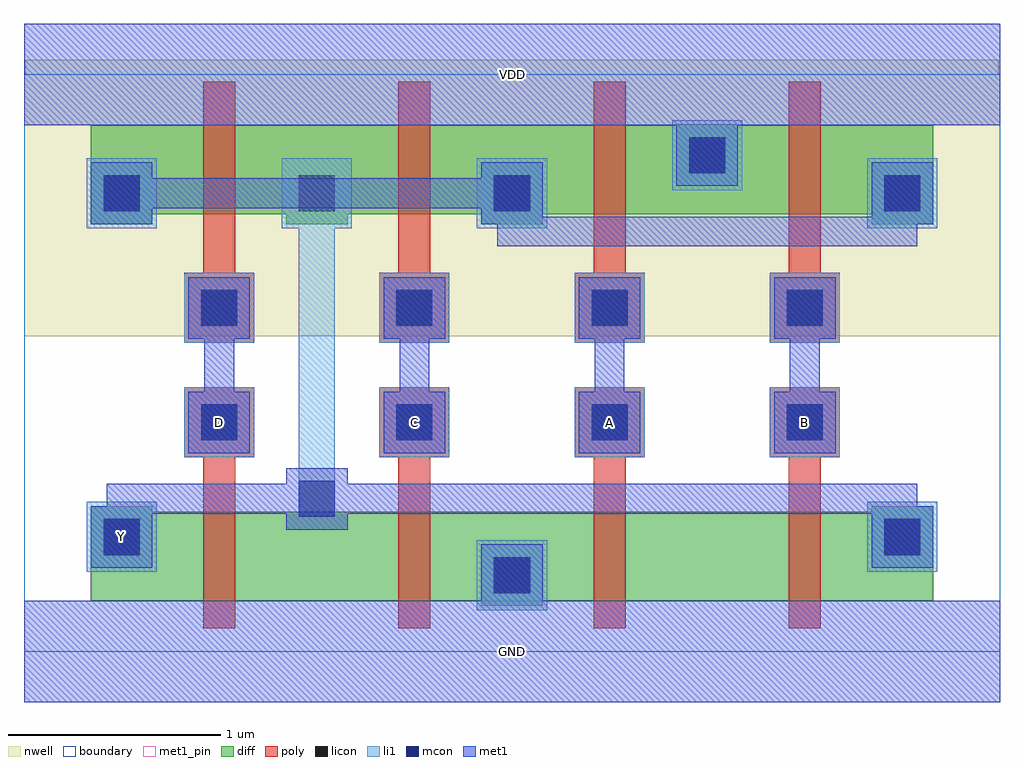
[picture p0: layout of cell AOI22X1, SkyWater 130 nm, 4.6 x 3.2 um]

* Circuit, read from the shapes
.subckt AOI22X1 A B C D GND VDD Y
XM1 n1 D Y VSUBS sky130_fd_pr__nfet_01v8 w=0.42 l=0.15
XM2 GND C n1 VSUBS sky130_fd_pr__nfet_01v8 w=0.42 l=0.15
XM3 n2 A GND VSUBS sky130_fd_pr__nfet_01v8 w=0.42 l=0.15
XM4 Y B n2 VSUBS sky130_fd_pr__nfet_01v8 w=0.42 l=0.15
XM5 Y D n3 n4 sky130_fd_pr__pfet_01v8 w=0.42 l=0.15
XM6 n3 C Y n4 sky130_fd_pr__pfet_01v8 w=0.42 l=0.15
XM7 VDD A n3 n4 sky130_fd_pr__pfet_01v8 w=0.42 l=0.15
XM8 n3 B VDD n4 sky130_fd_pr__pfet_01v8 w=0.42 l=0.15
.ends

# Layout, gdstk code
import gdstk
lib = gdstk.Library(unit=1e-6, precision=1e-09)
def R(c, l, rs):  # rectangles x0, y0, x1, y1
    for r in rs: c.add(gdstk.rectangle(r[:2], r[2:], *l))
def A(c, l, x, y, w, h, nx, ny, dx, dy):  # array of equal rectangles
    R(c, l, [(x+i*dx, y+j*dy, x+i*dx+w, y+j*dy+h) for i in range(nx) for j in range(ny)])
def P(c, l, *ps):  # polygons
    for p in ps: c.add(gdstk.Polygon(p, *l))
nwell = (64, 20)
diff = (65, 20)
poly = (66, 20)
licon = (66, 44)
li1 = (67, 20)
mcon = (67, 44)
met1_pin = (68, 16)
met1 = (68, 20)
boundary = (235, 4)

aoi22x1 = lib.new_cell('AOI22X1')
P(aoi22x1, nwell, [(0,1.485),(0,2.72),(0.005,2.72),(0.005,2.79),(4.595,2.79),(4.595,2.72),(4.6,2.72),(4.6,1.485)])
P(aoi22x1, diff, [(2.155,0.215),(2.155,0.24),(0.315,0.24),(0.315,0.685),(0.605,0.685),(0.605,0.66),(3.995,0.66),(3.995,0.685),(4.285,0.685),(4.285,0.24),(2.445,0.24),(2.445,0.215)],
  [(0.315,2.015),(0.315,2.48),(3.075,2.48),(3.075,2.485),(3.365,2.485),(3.365,2.48),(4.285,2.48),(4.285,2.015),(3.995,2.015),(3.995,2.06),(2.445,2.06),(2.445,2.015),(2.155,2.015),(2.155,2.06),(1.525,2.06),(1.525,2.015),(1.235,2.015),(1.235,2.06),(0.605,2.06),(0.605,2.015)])
P(aoi22x1, poly, [(0.845,0.11),(0.845,0.915),(0.755,0.915),(0.755,1.245),(1.085,1.245),(1.085,0.915),(0.995,0.915),(0.995,0.11)],
  [(1.765,0.11),(1.765,0.915),(1.675,0.915),(1.675,1.245),(2.005,1.245),(2.005,0.915),(1.915,0.915),(1.915,0.11)],
  [(2.685,0.11),(2.685,0.915),(2.595,0.915),(2.595,1.245),(2.925,1.245),(2.925,0.915),(2.835,0.915),(2.835,0.11)],
  [(3.605,0.11),(3.605,0.915),(3.515,0.915),(3.515,1.245),(3.845,1.245),(3.845,0.915),(3.755,0.915),(3.755,0.11)],
  [(0.755,1.455),(0.755,1.785),(0.845,1.785),(0.845,2.685),(0.995,2.685),(0.995,1.785),(1.085,1.785),(1.085,1.455)],
  [(1.675,1.455),(1.675,1.785),(1.765,1.785),(1.765,2.685),(1.915,2.685),(1.915,1.785),(2.005,1.785),(2.005,1.455)],
  [(2.595,1.455),(2.595,1.785),(2.685,1.785),(2.685,2.685),(2.835,2.685),(2.835,1.785),(2.925,1.785),(2.925,1.455)],
  [(3.515,1.455),(3.515,1.785),(3.605,1.785),(3.605,2.685),(3.755,2.685),(3.755,1.785),(3.845,1.785),(3.845,1.455)])
A(aoi22x1, licon, 0.835, 0.995, 0.17, 0.17, 4, 2, 0.92, 0.54)
A(aoi22x1, licon, 0.375, 2.075, 0.17, 0.17, 3, 1, 0.92, 0)
R(aoi22x1, licon, [(2.215,0.275,2.385,0.445), (0.375,0.455,0.545,0.625), (4.055,0.455,4.225,0.625), (4.055,2.075,4.225,2.245), (3.135,2.255,3.305,2.425)])
A(aoi22x1, li1, 0.755, 0.915, 0.33, 0.33, 4, 2, 0.92, 0.54)
A(aoi22x1, li1, 0.295, 1.995, 0.33, 0.33, 3, 1, 1.84, 0)
R(aoi22x1, li1, [(2.135,0.195,2.465,0.525), (0.295,0.375,0.625,0.705), (3.975,0.375,4.305,0.705), (3.055,2.175,3.385,2.505)])
P(aoi22x1, li1, [(1.295,0.635),(1.295,1.995),(1.215,1.995),(1.215,2.325),(1.545,2.325),(1.545,1.995),(1.465,1.995),(1.465,0.635)])
A(aoi22x1, mcon, 0.835, 0.995, 0.17, 0.17, 4, 2, 0.92, 0.54)
A(aoi22x1, mcon, 0.375, 2.075, 0.17, 0.17, 3, 1, 1.84, 0)
R(aoi22x1, mcon, [(2.215,0.275,2.385,0.445), (0.375,0.455,0.545,0.625), (4.055,0.455,4.225,0.625), (1.295,0.635,1.465,0.805), (3.135,2.255,3.305,2.425)])
R(aoi22x1, met1_pin, [(0,-0.24,4.6,0.24), (0,2.48,4.6,2.96)])
P(aoi22x1, met1_pin, [(0.315,0.395),(0.315,0.685),(0.39,0.685),(0.39,0.79),(1.235,0.79),(1.235,0.865),(1.525,0.865),(1.525,0.79),(4.21,0.79),(4.21,0.685),(4.285,0.685),(4.285,0.395),(3.995,0.395),(3.995,0.65),(1.525,0.65),(1.525,0.575),(1.235,0.575),(1.235,0.65),(0.605,0.65),(0.605,0.395)],
  [(3.535,0.935),(3.535,1.225),(3.61,1.225),(3.61,1.475),(3.535,1.475),(3.535,1.765),(3.825,1.765),(3.825,1.475),(3.75,1.475),(3.75,1.225),(3.825,1.225),(3.825,0.935)],
  [(2.615,0.935),(2.615,1.225),(2.69,1.225),(2.69,1.475),(2.615,1.475),(2.615,1.765),(2.905,1.765),(2.905,1.475),(2.83,1.475),(2.83,1.225),(2.905,1.225),(2.905,0.935)],
  [(0.775,0.935),(0.775,1.225),(0.85,1.225),(0.85,1.475),(0.775,1.475),(0.775,1.765),(1.065,1.765),(1.065,1.475),(0.99,1.475),(0.99,1.225),(1.065,1.225),(1.065,0.935)],
  [(1.695,0.935),(1.695,1.225),(1.77,1.225),(1.77,1.475),(1.695,1.475),(1.695,1.765),(1.985,1.765),(1.985,1.475),(1.91,1.475),(1.91,1.225),(1.985,1.225),(1.985,0.935)])
P(aoi22x1, met1, [(0,-0.24),(0,0.24),(2.155,0.24),(2.155,0.505),(2.445,0.505),(2.445,0.24),(4.6,0.24),(4.6,-0.24)],
  [(0.315,0.395),(0.315,0.685),(0.39,0.685),(0.39,0.79),(1.235,0.79),(1.235,0.865),(1.525,0.865),(1.525,0.79),(4.21,0.79),(4.21,0.685),(4.285,0.685),(4.285,0.395),(3.995,0.395),(3.995,0.65),(1.525,0.65),(1.525,0.575),(1.235,0.575),(1.235,0.65),(0.605,0.65),(0.605,0.395)],
  [(0.775,0.935),(0.775,1.225),(0.85,1.225),(0.85,1.475),(0.775,1.475),(0.775,1.765),(1.065,1.765),(1.065,1.475),(0.99,1.475),(0.99,1.225),(1.065,1.225),(1.065,0.935)],
  [(1.695,0.935),(1.695,1.225),(1.77,1.225),(1.77,1.475),(1.695,1.475),(1.695,1.765),(1.985,1.765),(1.985,1.475),(1.91,1.475),(1.91,1.225),(1.985,1.225),(1.985,0.935)],
  [(2.615,0.935),(2.615,1.225),(2.69,1.225),(2.69,1.475),(2.615,1.475),(2.615,1.765),(2.905,1.765),(2.905,1.475),(2.83,1.475),(2.83,1.225),(2.905,1.225),(2.905,0.935)],
  [(3.535,0.935),(3.535,1.225),(3.61,1.225),(3.61,1.475),(3.535,1.475),(3.535,1.765),(3.825,1.765),(3.825,1.475),(3.75,1.475),(3.75,1.225),(3.825,1.225),(3.825,0.935)],
  [(2.23,1.91),(2.23,2.015),(2.155,2.015),(2.155,2.09),(0.605,2.09),(0.605,2.015),(0.315,2.015),(0.315,2.305),(0.605,2.305),(0.605,2.23),(2.155,2.23),(2.155,2.305),(2.445,2.305),(2.445,2.05),(3.995,2.05),(3.995,2.305),(4.285,2.305),(4.285,2.015),(4.21,2.015),(4.21,1.91)],
  [(3.075,2.195),(3.075,2.48),(0,2.48),(0,2.96),(4.6,2.96),(4.6,2.48),(3.365,2.48),(3.365,2.195)])
R(aoi22x1, boundary, [(0,0,4.6,2.72)])
aoi22x1.add(gdstk.Label('Y', (0.46,0.54), layer=68, texttype=5))
aoi22x1.add(gdstk.Label('B', (3.68,1.08), layer=68, texttype=5))
aoi22x1.add(gdstk.Label('A', (2.76,1.08), layer=68, texttype=5))
aoi22x1.add(gdstk.Label('D', (0.92,1.08), layer=68, texttype=5))
aoi22x1.add(gdstk.Label('C', (1.84,1.08), layer=68, texttype=5))
aoi22x1.add(gdstk.Label('GND', (2.3,0), layer=68, texttype=5))
aoi22x1.add(gdstk.Label('VDD', (2.3,2.72), layer=68, texttype=5))

lib.write_gds('AOI22X1.gds')
